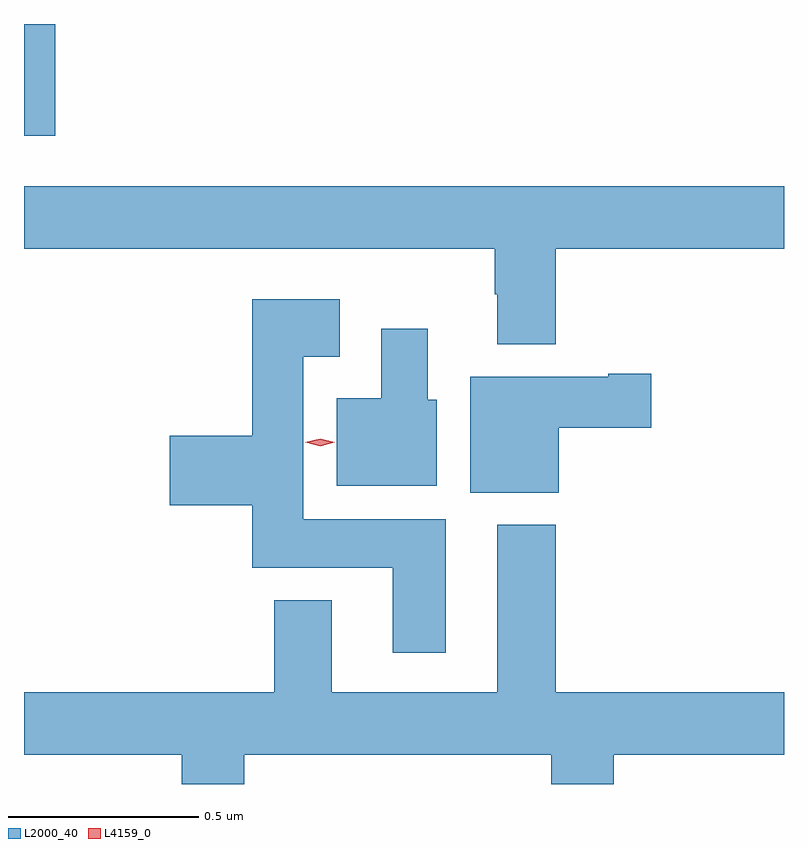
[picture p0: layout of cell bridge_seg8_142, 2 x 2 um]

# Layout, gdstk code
import gdstk
lib = gdstk.Library(unit=1e-6, precision=1e-09)
def R(c, l, rs):  # rectangles x0, y0, x1, y1
    for r in rs: c.add(gdstk.rectangle(r[:2], r[2:], *l))
def P(c, l, *ps):  # polygons
    for p in ps: c.add(gdstk.Polygon(p, *l))
L2000_40 = (2000, 40)
L4159_0 = (4159, 0)

bridge_seg8_142 = lib.new_cell('bridge_seg8_142')
R(bridge_seg8_142, L2000_40, [(527.497,1144.769,527.579,1145.063)])
P(bridge_seg8_142, L2000_40, [(528.896,1144.472),(529.497,1144.472),(529.497,1144.636),(527.497,1144.636),(527.497,1144.472),(528.736,1144.472),(528.736,1144.352),(528.743,1144.352),(528.743,1144.22),(528.896,1144.22)],
  [(528.607,1143.76),(528.232,1143.76),(528.232,1144.187),(528.328,1144.187),(528.328,1144.339),(528.098,1144.339),(528.098,1143.98),(527.88,1143.98),(527.88,1143.797),(528.098,1143.797),(528.098,1143.632),(528.467,1143.632),(528.467,1143.408),(528.607,1143.408)],
  [(528.583,1144.074),(528.559,1144.074),(528.559,1144.261),(528.437,1144.261),(528.437,1144.078),(528.32,1144.078),(528.32,1143.848),(528.583,1143.848)],
  [(528.904,1144.001),(529.147,1144.001),(529.147,1144.143),(529.034,1144.143),(529.034,1144.135),(528.671,1144.135),(528.671,1143.83),(528.904,1143.83)],
  [(528.077,1143.14),(528.884,1143.14),(528.884,1143.063),(529.049,1143.063),(529.049,1143.14),(529.497,1143.14),(529.497,1143.304),(528.896,1143.304),(528.896,1143.745),(528.743,1143.745),(528.743,1143.304),(528.307,1143.304),(528.307,1143.547),(528.155,1143.547),(528.155,1143.304),(527.497,1143.304),(527.497,1143.14),(527.912,1143.14),(527.912,1143.063),(528.077,1143.063)])
P(bridge_seg8_142, L4159_0, [(528.276,1143.952),(528.237,1143.962),(528.237,1143.962),(528.237,1143.962),(528.276,1143.972),(528.315,1143.963),(528.315,1143.963),(528.315,1143.962)])

lib.write_gds('bridge_seg8_142.gds')
